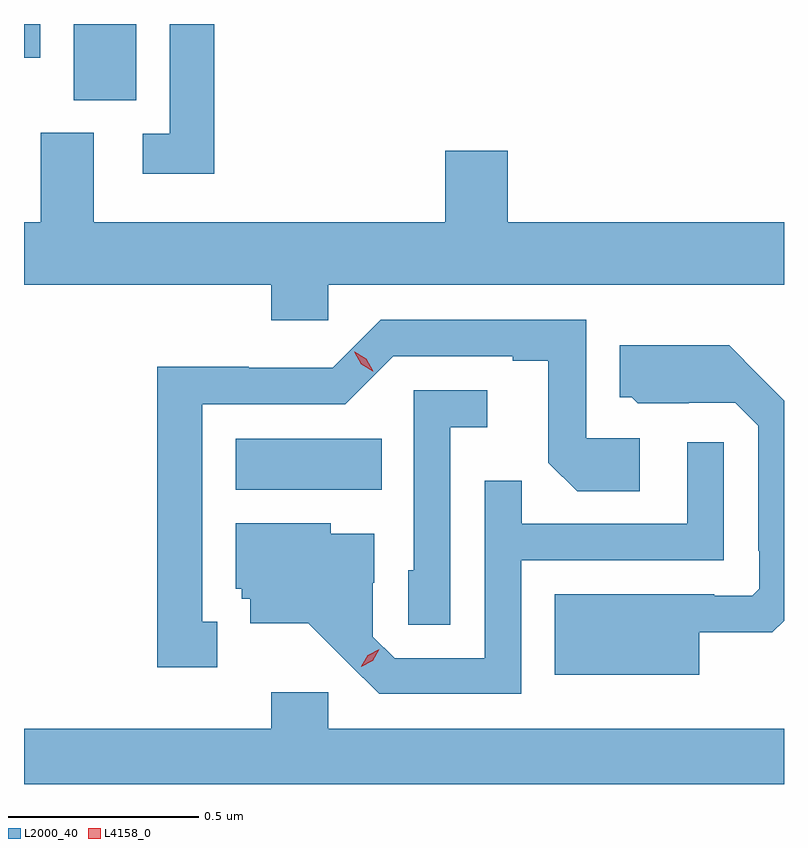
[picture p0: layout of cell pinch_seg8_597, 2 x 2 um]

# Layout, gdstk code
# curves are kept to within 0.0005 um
import gdstk
lib = gdstk.Library(unit=1e-6, precision=1e-09)
def R(c, l, rs):  # rectangles x0, y0, x1, y1
    for r in rs: c.add(gdstk.rectangle(r[:2], r[2:], *l))
def P(c, l, *ps):  # polygons
    for p in ps: c.add(gdstk.Polygon(p, *l))
L2000_40 = (2000, 40)
L4158_0 = (4158, 0)

pinch_seg8_597 = lib.new_cell('pinch_seg8_597')
R(pinch_seg8_597, L2000_40, [(176.444,1090.652,176.828,1090.786), (176.018,1091.677,176.182,1091.878), (175.887,1091.789,175.93,1091.878)])
P(pinch_seg8_597, L2000_40, [(176.387,1091.878),(176.271,1091.878),(176.271,1091.589),(176.199,1091.589),(176.199,1091.484),(176.387,1091.484)],
  [(176.688,1091.192),(177.887,1091.192),(177.887,1091.356),(177.16,1091.356),(177.16,1091.545),(176.996,1091.545),(176.996,1091.356),(176.071,1091.356),(176.071,1091.592),(175.931,1091.592),(175.931,1091.356),(175.887,1091.356),(175.887,1091.192),(176.537,1091.192),(176.537,1091.099),(176.688,1091.099)],
  [(176.395,1090.305),(176.356,1090.305),(176.356,1090.878),(176.733,1090.878),(176.859,1091.004),(177.173,1091.004),(177.173,1090.992),(177.267,1090.992),(177.267,1090.724),(177.343,1090.648),(177.508,1090.648),(177.508,1090.788),(177.366,1090.788),(177.366,1091.1),(176.826,1091.1),(176.7,1090.974),(176.478,1090.974),(176.478,1090.976),(176.238,1090.976),(176.238,1090.185),(176.395,1090.185)],
  [(177.664,1090.277),(177.856,1090.277),(177.887,1090.308),(177.887,1090.886),(177.743,1091.032),(177.455,1091.032),(177.455,1090.896),(177.486,1090.896),(177.502,1090.88),(177.636,1090.88),(177.636,1090.881),(177.759,1090.881),(177.819,1090.821),(177.819,1090.492),(177.822,1090.492),(177.822,1090.392),(177.804,1090.374),(177.704,1090.374),(177.704,1090.378),(177.284,1090.378),(177.284,1090.166),(177.664,1090.166)],
  [(177.009,1090.817),(177.106,1090.817),(177.106,1090.914),(176.913,1090.914),(176.913,1090.44),(176.898,1090.44),(176.898,1090.297),(177.009,1090.297)],
  [(177.195,1090.467),(177.729,1090.467),(177.729,1090.777),(177.633,1090.777),(177.633,1090.563),(177.197,1090.563),(177.197,1090.676),(177.099,1090.676),(177.099,1090.209),(176.862,1090.209),(176.805,1090.266),(176.805,1090.408),(176.809,1090.408),(176.809,1090.537),(176.694,1090.537),(176.694,1090.564),(176.444,1090.564),(176.444,1090.392),(176.46,1090.392),(176.46,1090.365),(176.483,1090.365),(176.483,1090.301),(176.635,1090.301),(176.822,1090.116),(177.195,1090.116)],
  [(177.887,1090.024),(176.688,1090.024),(176.688,1090.12),(176.537,1090.12),(176.537,1090.024),(175.887,1090.024),(175.887,1089.878),(177.887,1089.878)])
P(pinch_seg8_597, L4158_0, [(176.774,1090.187),(176.774,1090.188),(176.791,1090.217),(176.822,1090.233),(176.822,1090.233),(176.822,1090.232),(176.805,1090.203),(176.774,1090.187)],
  [(176.805,1090.964),(176.774,1090.983),(176.756,1091.015),(176.756,1091.016),(176.757,1091.016),(176.788,1090.997),(176.806,1090.964),(176.806,1090.964)])

lib.write_gds('pinch_seg8_597.gds')
